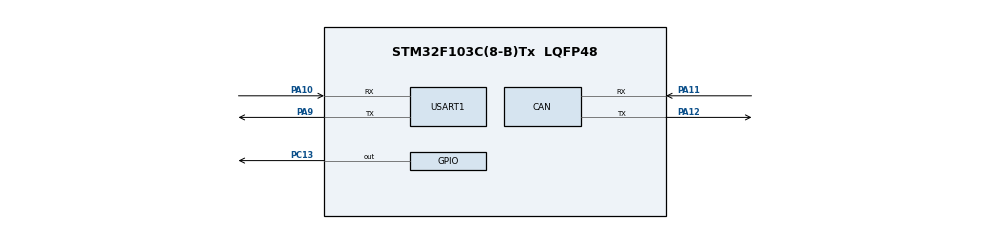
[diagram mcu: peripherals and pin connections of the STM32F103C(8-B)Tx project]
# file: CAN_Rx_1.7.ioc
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CAN.CalculateTimeBit=6000
CAN.CalculateTimeQuantum=2000.0
Mcu.Family=STM32F1
Mcu.Name=STM32F103C(8-B)Tx
Mcu.Package=LQFP48
NVIC.CAN1_RX1_IRQn=true\:0\:0\:false\:false\:true\:true\:true
NVIC.PriorityGroup=NVIC_PRIORITYGROUP_4
PA10.Mode=Asynchronous
PA10.Signal=USART1_RX
PA11.Mode=Master
PA11.Signal=CAN_RX
PA12.Mode=Master
PA12.Signal=CAN_TX
PA9.Mode=Asynchronous
PA9.Signal=USART1_TX
PC13-TAMPER-RTC.Signal=GPIO_Output
ProjectManager.HeapSize=0x200
ProjectManager.StackSize=0x400
ProjectManager.TargetToolchain=Makefile
RCC.APB1Freq_Value=8000000
RCC.APB2Freq_Value=8000000
USART1.VirtualMode=VM_ASYNC
VP_SYS_VS_ND.Mode=No_Debug
board=custom

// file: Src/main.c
/* USER CODE BEGIN Header */
/**
  ******************************************************************************
  * @file           : main.c
  * @brief          : Main program body
  ******************************************************************************
  * @attention
  *
  * <h2><center>&copy; Copyright (c) 2019 STMicroelectronics.
  * All rights reserved.</center></h2>
  *
  * This software component is licensed by ST under BSD 3-Clause license,
  * the "License"; You may not use this file except in compliance with the
  * License. You may obtain a copy of the License at:
  *                        opensource.org/licenses/BSD-3-Clause
  *
  ******************************************************************************
  */
/* USER CODE END Header */

#include "main.h"

CAN_HandleTypeDef hcan;

UART_HandleTypeDef huart1;

/* USER CODE BEGIN PV */
CAN_TxHeaderTypeDef   TxHeader;
CAN_RxHeaderTypeDef   RxHeader;
uint8_t               TxData[8] = {0x55, 0x55, 0x55, 0x55, 0x55, 0x55, 0x55, 0x55};
uint8_t               RxData[8];
uint32_t              TxMailbox;
uint8_t 			  flag = 0;
/* USER CODE END PV */

void SystemClock_Config(void);
static void MX_GPIO_Init(void);
static void MX_CAN_Init(void);
static void MX_USART1_UART_Init(void);

int main(void)
{

  /* MCU Configuration--------------------------------------------------------*/

  /* Reset of all peripherals, Initializes the Flash interface and the Systick. */
  HAL_Init();

  /* Configure the system clock */
  SystemClock_Config();

  /* Initialize all configured peripherals */
  MX_GPIO_Init();
  MX_CAN_Init();
  MX_USART1_UART_Init();

  /* Infinite loop */
  while (1)
  {
	if (RxHeader.StdId == 0x321) HAL_GPIO_TogglePin(GPIOC, GPIO_PIN_13);

	uint8_t serial[8];

	serial[0] = RxData[0];
	serial[1] = RxData[1];
	serial[2] = RxData[2];
	serial[3] = RxData[3];
	serial[4] = RxData[4];
	serial[5] = RxData[5];
	serial[6] = RxData[6];
	serial[7] = RxData[7];

	HAL_UART_Transmit(&huart1, serial, sizeof(serial), 1000);

	HAL_Delay(500);
  }
}

void HAL_CAN_RxFifo0MsgPendingCallback(CAN_HandleTypeDef *CanHandle)
{
  /* Get RX message */
  HAL_CAN_GetRxMessage(&hcan, CAN_RX_FIFO0, &RxHeader, RxData);
}

void SystemClock_Config(void)
{
  RCC_OscInitTypeDef RCC_OscInitStruct = {0};
  RCC_ClkInitTypeDef RCC_ClkInitStruct = {0};

  /** Initializes the CPU, AHB and APB busses clocks
  */
  RCC_OscInitStruct.OscillatorType = RCC_OSCILLATORTYPE_HSI;
  RCC_OscInitStruct.HSIState = RCC_HSI_ON;
  RCC_OscInitStruct.HSICalibrationValue = RCC_HSICALIBRATION_DEFAULT;
  RCC_OscInitStruct.PLL.PLLState = RCC_PLL_NONE;
  if (HAL_RCC_OscConfig(&RCC_OscInitStruct) != HAL_OK)
  {
    Error_Handler();
  }
  /** Initializes the CPU, AHB and APB busses clocks
  */
  RCC_ClkInitStruct.ClockType = RCC_CLOCKTYPE_HCLK|RCC_CLOCKTYPE_SYSCLK
                              |RCC_CLOCKTYPE_PCLK1|RCC_CLOCKTYPE_PCLK2;
  RCC_ClkInitStruct.SYSCLKSource = RCC_SYSCLKSOURCE_HSI;
  RCC_ClkInitStruct.AHBCLKDivider = RCC_SYSCLK_DIV1;
  RCC_ClkInitStruct.APB1CLKDivider = RCC_HCLK_DIV1;
  RCC_ClkInitStruct.APB2CLKDivider = RCC_HCLK_DIV1;

  if (HAL_RCC_ClockConfig(&RCC_ClkInitStruct, FLASH_LATENCY_0) != HAL_OK)
  {
    Error_Handler();
  }
}

static void MX_CAN_Init(void)
{

  /* USER CODE BEGIN CAN_Init 0 */
  CAN_FilterTypeDef     sFilterConfig;
  /* USER CODE END CAN_Init 0 */

  hcan.Instance = CAN1;
  hcan.Init.Prescaler = 2;
  hcan.Init.Mode = CAN_MODE_NORMAL;
  hcan.Init.SyncJumpWidth = CAN_SJW_1TQ;
  hcan.Init.TimeSeg1 = CAN_BS1_3TQ;
  hcan.Init.TimeSeg2 = CAN_BS2_4TQ;
  hcan.Init.TimeTriggeredMode = DISABLE;
  hcan.Init.AutoBusOff = DISABLE;
  hcan.Init.AutoWakeUp = DISABLE;
  hcan.Init.AutoRetransmission = DISABLE;
  hcan.Init.ReceiveFifoLocked = DISABLE;
  hcan.Init.TransmitFifoPriority = DISABLE;
  if (HAL_CAN_Init(&hcan) != HAL_OK)
  {
    Error_Handler();
  }
  /* USER CODE BEGIN CAN_Init 2 */
	sFilterConfig.FilterBank = 0;							// filter number (0-13)
	sFilterConfig.FilterMode = CAN_FILTERMODE_IDMASK;		// mask mode or identifier mode
	sFilterConfig.FilterScale = CAN_FILTERSCALE_32BIT;
	sFilterConfig.FilterIdHigh = 0x0000;					// received ID must match filter ID for each bit specified by filter mask
	sFilterConfig.FilterIdLow = 0x0000;
	sFilterConfig.FilterMaskIdHigh = 0x0000;				// specifies which bits of the received ID to compare to the filter ID
	sFilterConfig.FilterMaskIdLow = 0x0000;
	sFilterConfig.FilterFIFOAssignment = CAN_RX_FIFO0;		// receive FIFO (0 or 1, must match chosen interrupt!)
	sFilterConfig.FilterActivation = ENABLE;

	HAL_CAN_ConfigFilter(&hcan, &sFilterConfig);

	HAL_CAN_Start(&hcan);

	HAL_CAN_ActivateNotification(&hcan, CAN_IT_RX_FIFO0_MSG_PENDING); // enables interrupt

  /* USER CODE END CAN_Init 2 */

}

static void MX_USART1_UART_Init(void)
{

  huart1.Instance = USART1;
  huart1.Init.BaudRate = 115200;
  huart1.Init.WordLength = UART_WORDLENGTH_8B;
  huart1.Init.StopBits = UART_STOPBITS_1;
  huart1.Init.Parity = UART_PARITY_NONE;
  huart1.Init.Mode = UART_MODE_TX_RX;
  huart1.Init.HwFlowCtl = UART_HWCONTROL_NONE;
  huart1.Init.OverSampling = UART_OVERSAMPLING_16;
  if (HAL_UART_Init(&huart1) != HAL_OK)
  {
    Error_Handler();
  }

}

static void MX_GPIO_Init(void)
{
  GPIO_InitTypeDef GPIO_InitStruct = {0};

  /* GPIO Ports Clock Enable */
  __HAL_RCC_GPIOC_CLK_ENABLE();
  __HAL_RCC_GPIOA_CLK_ENABLE();

  /*Configure GPIO pin Output Level */
  HAL_GPIO_WritePin(GPIOC, GPIO_PIN_13, GPIO_PIN_RESET);

  /*Configure GPIO pin : PC13 */
  GPIO_InitStruct.Pin = GPIO_PIN_13;
  GPIO_InitStruct.Mode = GPIO_MODE_OUTPUT_PP;
  GPIO_InitStruct.Pull = GPIO_NOPULL;
  GPIO_InitStruct.Speed = GPIO_SPEED_FREQ_LOW;
  HAL_GPIO_Init(GPIOC, &GPIO_InitStruct);

}

void Error_Handler(void)
{
}

/************************ (C) COPYRIGHT STMicroelectronics *****END OF FILE****/
